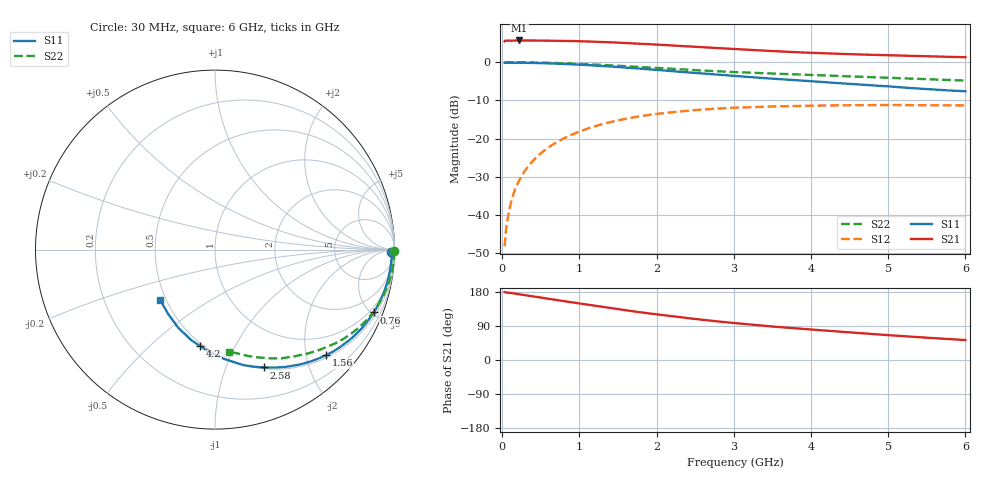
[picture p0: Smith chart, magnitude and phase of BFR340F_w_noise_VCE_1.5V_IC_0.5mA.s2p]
! Infineon Technologies  Discrete & RF Semiconductors
! BFR340F
! VCE =  1.5 V,  IC =  0.5 mA
! Common Emitter S-Parameters:  Nov 2015
# GHz  S  MA  R  50
!  f  S11  S21  S12  S22
! GHz  MAG  ANG  MAG  ANG  MAG  ANG  MAG  ANG
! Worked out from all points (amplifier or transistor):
!   206 points, 30 MHz to 6 GHz, reference 50 ohm
!   highest |S21| = 5.7 dB at 220 MHz (marker M1)
!   |S21| within 3 dB of that: start of sweep to 3.724 GHz
!   unconditionally stable (mu >= 1): nowhere
!   at 200 MHz: K = 0.03, MSG = 18.7 dB, |S12| = -31.7 dB
!   at 1.56 GHz: K = 0.30, MSG = 10.0 dB, |S12| = -15.0 dB
!   at 6 GHz: K = 0.93, MSG = 6.3 dB, |S12| = -11.3 dB
!   lowest NFmin = 0.60 dB at 450 MHz
!   S11 on the Smith chart (normalised r, x): 30 MHz: 69, -53; 760 MHz: 0.70, -5.15; 1.56 GHz: 0.55, -2.40; 2.58 GHz: 0.52, -1.37; 4.2 GHz: 0.48, -0.74; 6 GHz: 0.46, -0.32
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0.03  0.9819 -0.8  1.876 179.4  0.0039 89.6  0.9988 -0.6
0.04  0.9869 -1.2  1.917 178.8  0.0052 90.0  0.9985 -0.8
0.05  0.982 -1.6  1.906 178.0  0.0067 89.3  0.9985 -1.1
0.08  0.9821 -2.3  1.912 177.8  0.0104 88.8  0.9988 -1.7
0.1  0.9856 -2.8  1.907 177.1  0.013 88.4  0.9986 -2.2
0.15  0.9843 -4.3  1.915 175.5  0.0195 86.9  0.9978 -3.2
0.22  0.9822 -6.4  1.922 173.4  0.0285 85.4  0.9964 -4.7
0.32  0.9794 -9.1  1.92 170.4  0.0413 83.3  0.9937 -6.9
0.45  0.9732 -12.8  1.917 166.3  0.0578 80.7  0.9887 -9.6
0.6  0.9645 -17.0  1.911 161.5  0.0766 77.5  0.9806 -12.8
0.76  0.9511 -21.6  1.9 156.5  0.096 74.2  0.9699 -16.2
1.04  0.9228 -29.4  1.872 147.9  0.1279 68.5  0.946 -21.9
1.3  0.8911 -36.4  1.835 140.0  0.1547 63.4  0.9192 -27.1
1.56  0.8544 -43.4  1.79 132.3  0.1781 58.4  0.8896 -31.9
2.02  0.7885 -54.7  1.692 119.8  0.211 50.8  0.8367 -39.6
2.58  0.7112 -67.4  1.572 106.5  0.2391 43.2  0.7779 -47.9
3.1  0.6496 -78.2  1.464 95.8  0.255 37.6  0.735 -54.3
3.5  0.6082 -85.8  1.396 88.3  0.2633 34.1  0.709 -58.7
4.1  0.5532 -96.8  1.313 78.8  0.2701 30.6  0.6735 -63.9
4.2  0.5442 -98.7  1.302 77.4  0.2709 30.1  0.6673 -64.8
5.1  0.4731 -117.0  1.222 64.3  0.2744 26.2  0.6167 -73.4
6  0.4157 -137.1  1.16 52.7  0.2715 25.2  0.5733 -82.2
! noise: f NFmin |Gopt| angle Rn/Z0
0.45  0.6  0.91  5  1.13
0.9  0.64  0.87  13  1.13
1.9  1.21  0.74  27  0.92
2.4  1.31  0.7  36  0.86
